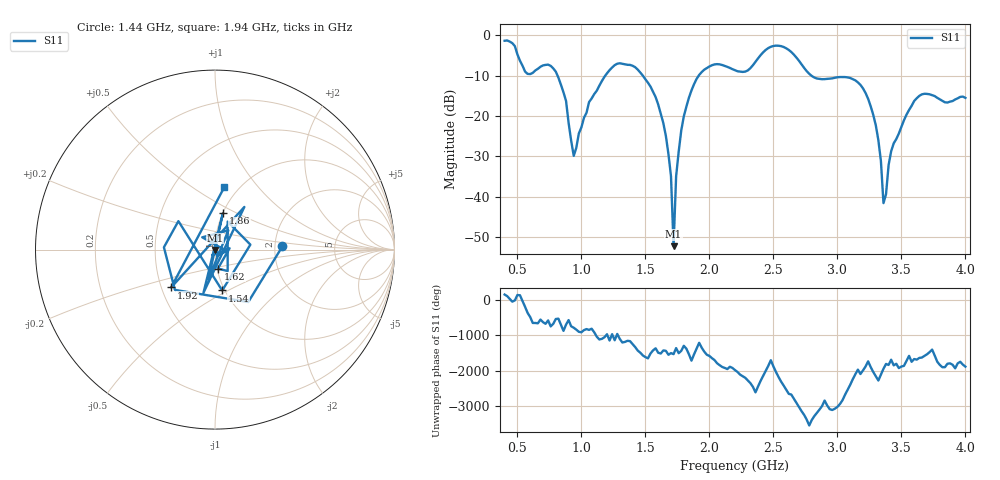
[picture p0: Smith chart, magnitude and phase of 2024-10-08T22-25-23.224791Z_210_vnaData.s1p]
! Created with skrf (http://scikit-rf.org).
# Hz S RI R 50.0
!freq ReS11 ImS11
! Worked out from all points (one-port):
!   181 points, 400 MHz to 4 GHz, reference 50 ohm
!   lowest |S11| = -52.3 dB at 1.72 GHz (marker M1), VSWR 1.00, Z = 50 - j0.24 ohm
!   |S11| at or under -10 dB: 813.6 MHz to 1.186 GHz (372.7 MHz wide, 37.3 % of centre); 1.48 GHz to 1.916 GHz (436.2 MHz wide, 25.7 % of centre); 2.797 GHz to end of sweep
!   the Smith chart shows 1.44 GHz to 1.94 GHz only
!   S11 on the Smith chart (normalised r, x): 1.44 GHz: 2.20, +0.09; 1.54 GHz: 0.97, -0.47; 1.62 GHz: 1.01, -0.22; 1.86 GHz: 1.00, +0.42; 1.92 GHz: 0.56, -0.26; 1.94 GHz: 0.86, +0.68
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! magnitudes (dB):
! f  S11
! 400 MHz  -1.3
! 580 MHz  -9.6
! 760 MHz  -7.6
! 860 MHz  -14.1
! 940 MHz  -29.9
! 1.06 GHz  -16.5
! 1.3 GHz  -6.9
! 1.44 GHz  -8.5
! 1.54 GHz  -12.7
! 1.62 GHz  -19.4
! 1.7 GHz  -35.0
! 1.72 GHz  -52.3
! 1.74 GHz  -35.0
! 1.76 GHz  -28.9
! 1.86 GHz  -13.7
! 1.92 GHz  -9.8
! 1.94 GHz  -9.1
! 2.2 GHz  -8.6
! 2.5 GHz  -2.6
! 2.66 GHz  -4.8
! 2.82 GHz  -10.5
! 3.1 GHz  -10.6
! 3.28 GHz  -19.7
! 3.34 GHz  -31.2
! 3.36 GHz  -41.6
! 3.42 GHz  -28.7
! 3.56 GHz  -18.5
! 4 GHz  -15.5
